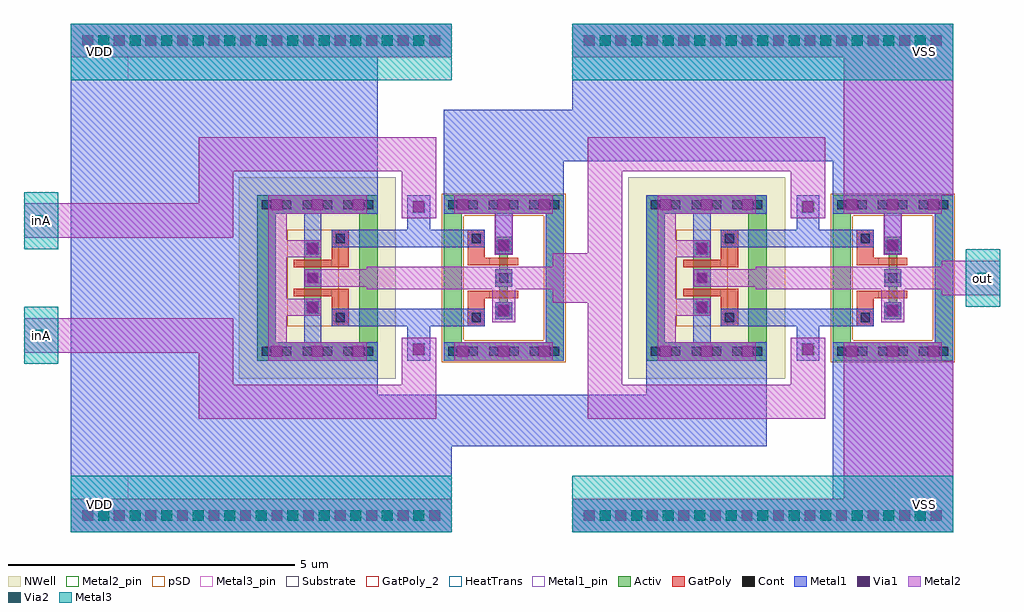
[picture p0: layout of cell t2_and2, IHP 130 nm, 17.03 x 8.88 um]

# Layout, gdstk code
from math import pi, radians
import gdstk
lib = gdstk.Library(unit=1e-6, precision=1e-09)
def R(c, l, rs):  # rectangles x0, y0, x1, y1
    for r in rs: c.add(gdstk.rectangle(r[:2], r[2:], *l))
def A(c, l, x, y, w, h, nx, ny, dx, dy):  # array of equal rectangles
    R(c, l, [(x+i*dx, y+j*dy, x+i*dx+w, y+j*dy+h) for i in range(nx) for j in range(ny)])
Activ = (1, 0)
GatPoly = (5, 0)
GatPoly_2 = (5, 2)
Cont = (6, 0)
Metal1 = (8, 0)
Metal1_pin = (8, 2)
Metal2 = (10, 0)
Metal2_pin = (10, 2)
pSD = (14, 0)
Via1 = (19, 0)
Via2 = (29, 0)
Metal3 = (30, 0)
Metal3_pin = (30, 2)
NWell = (31, 0)
Substrate = (40, 0)
HeatTrans = (51, 0)

pmos = lib.new_cell('pmos')
R(pmos, Activ, [(0,0,0.3,0.3), (0,0,0.81,0.3), (0.51,0,0.81,0.3)])
R(pmos, GatPoly, [(0.34,-0.18,0.47,0.48), (0.34,-0.18,0.47,0.48)])
R(pmos, Cont, [(0.07,0.07,0.23,0.23), (0.58,0.07,0.74,0.23)])
R(pmos, Metal1, [(0.07,0,0.23,0.3), (0.07,0,0.23,0.3), (0.58,0,0.74,0.3), (0.58,0,0.74,0.3)])
R(pmos, pSD, [(-0.18,-0.3,0.99,0.6)])
R(pmos, NWell, [(-0.31,-0.31,1.12,0.61)])
R(pmos, Substrate, [(0.51,0,0.81,0.3)])
R(pmos, HeatTrans, [(0.34,-0.18,0.47,0.48)])
pmos.add(gdstk.Label('pmos', (0.405,0.15), layer=63, texttype=0))
pmos.add(gdstk.Label('pmos', (0.405,0.15), layer=51, texttype=0))

nmos = lib.new_cell('nmos')
R(nmos, Activ, [(0,0,0.3,0.3), (0.57,0,0.87,0.3), (0,0.075,0.87,0.225)])
R(nmos, GatPoly, [(0.37,-0.105,0.5,0.405)])
R(nmos, GatPoly_2, [(0.37,-0.105,0.5,0.405)])
R(nmos, Cont, [(0.07,0.07,0.23,0.23), (0.64,0.07,0.8,0.23)])
R(nmos, Metal1, [(0.07,0.02,0.23,0.28), (0.64,0.02,0.8,0.28)])
R(nmos, Metal1_pin, [(0.07,0.02,0.23,0.28), (0.64,0.02,0.8,0.28)])
R(nmos, HeatTrans, [(0.37,-0.105,0.5,0.405)])
nmos.add(gdstk.Label('nmos', (0.435,0.15), layer=63, texttype=0))
nmos.add(gdstk.Label('nmos', (0.435,0.15), layer=51, texttype=0))

t2_nand2 = lib.new_cell('t2_nand2')
R(t2_nand2, Activ, [(-6.22,-2.335,-3.66,-2.015), (-3.66,-2.335,-3.34,-0.555), (-6.22,-2.015,-5.9,-0.235), (-5.9,-0.555,-3.34,-0.235), (-6.22,0.915,-3.66,1.235), (-3.66,0.915,-3.34,2.695), (-6.22,1.235,-5.9,3.015), (-5.9,2.695,-3.34,3.015)])
R(t2_nand2, GatPoly, [(-5.13,-1.03,-5,-0.955), (-4.56,-1.03,-4.43,-0.955), (-5.62,-0.955,-5,-0.655), (-4.56,-0.955,-3.94,-0.655), (-5.62,1.415,-4.97,1.715), (-4.59,1.415,-3.94,1.715)])
A(t2_nand2, Cont, -3.58, -2.255, 0.16, 0.16, 1, 5, 0, 0.355)
A(t2_nand2, Cont, -6.14, -1.895, 0.16, 0.16, 1, 5, 0, 0.355)
A(t2_nand2, Cont, -6.14, 1.355, 0.16, 0.16, 1, 5, 0, 0.355)
A(t2_nand2, Cont, -3.58, 1.355, 0.16, 0.16, 1, 5, 0, 0.355)
R(t2_nand2, Cont, [(-6.14,-2.255,-5.98,-2.095), (-5.55,-0.885,-5.39,-0.725), (-4.17,-0.885,-4.01,-0.725), (-3.58,-0.475,-3.42,-0.315), (-6.14,0.995,-5.98,1.155), (-3.58,0.995,-3.42,1.155), (-5.55,1.485,-5.39,1.645), (-4.17,1.485,-4.01,1.645)])
R(t2_nand2, Metal1, [(-6.22,-2.335,-5.9,-0.235), (-5.9,-2.335,-3.66,-2.015), (-3.66,-2.335,-3.34,-0.235), (-5.9,-1.435,-5.205,-1.135), (-4.93,-1.435,-4.63,-1.135), (-4.36,-1.435,-4.06,-1.135), (-5.62,-0.955,-5.32,1.715), (-4.24,-0.955,-3.94,1.715), (-6.22,-0.005,-5.62,0.395), (-3.94,-0.005,-3.34,0.395), (-6.22,0.915,-5.9,3.015), (-3.66,0.915,-3.34,3.015), (-5.9,1.895,-5.145,2.195), (-4.93,1.895,-4.63,2.195), (-4.415,1.895,-3.66,2.195), (-5.9,2.695,-3.66,3.015)])
R(t2_nand2, Metal2, [(-6.22,-2.14,-5.9,-0.425), (-4.98,-2.14,-4.58,1.105), (-3.66,-2.14,-3.34,-0.425), (-4.58,-1.485,-4.01,-1.085), (-5.9,-1.445,-5.19,-1.125), (-6.22,-0.005,-5.82,0.395), (-3.74,-0.005,-3.34,0.395), (-6.22,1.105,-5.9,2.82), (-4.93,1.105,-4.63,2.19), (-3.66,1.105,-3.34,2.82), (-5.44,1.9,-5.14,2.5), (-4.42,1.9,-4.12,2.5), (-5.9,2.5,-3.66,2.82)])
R(t2_nand2, Metal2_pin, [(-5.455,-1.39,-5.245,-1.18), (-4.315,-1.39,-4.105,-1.18), (-6.125,0.09,-5.915,0.3), (-3.645,0.09,-3.435,0.3), (-5.395,1.94,-5.185,2.15), (-4.375,1.94,-4.165,2.15)])
R(t2_nand2, pSD, [(-6.25,-2.365,-3.69,-1.985), (-3.69,-2.365,-3.31,-0.585), (-6.25,-1.985,-5.87,-0.205), (-5.87,-0.585,-3.31,-0.205)])
A(t2_nand2, Via1, -5.385, 1.95, 0.19, 0.19, 3, 1, 0.51, 0)
R(t2_nand2, Via1, [(-6.155,-2.09,-5.965,-1.9), (-3.595,-2.09,-3.405,-1.9), (-5.445,-1.38,-5.255,-1.19), (-4.305,-1.38,-4.115,-1.19), (-3.595,-1.38,-3.405,-1.19), (-6.155,-1.375,-5.965,-1.185), (-6.155,-0.665,-5.965,-0.475), (-3.595,-0.665,-3.405,-0.475), (-6.115,0.1,-5.925,0.29), (-3.635,0.1,-3.445,0.29), (-6.155,1.155,-5.965,1.345), (-3.595,1.155,-3.405,1.345), (-6.155,1.87,-5.965,2.06), (-3.595,1.87,-3.405,2.06), (-6.155,2.58,-5.965,2.77), (-3.595,2.58,-3.405,2.77)])
R(t2_nand2, NWell, [(-6.54,0.595,-3.02,3.335)])
t2_nand2.add(gdstk.Reference(pmos, (-5.44,1.895)))
t2_nand2.add(gdstk.Reference(pmos, (-4.93,1.895)))
t2_nand2.add(gdstk.Reference(nmos, (-5.5,-1.435)))
t2_nand2.add(gdstk.Reference(nmos, (-4.93,-1.435)))
t2_nand2.add(gdstk.Label('VDD', (-5.29,2.045), layer=10, texttype=2))
t2_nand2.add(gdstk.Label('VDD', (-4.27,2.045), layer=10, texttype=2))
t2_nand2.add(gdstk.Label('VSS', (-5.35,-1.285), layer=10, texttype=2))
t2_nand2.add(gdstk.Label('out', (-4.21,-1.285), layer=10, texttype=2))
t2_nand2.add(gdstk.Label('inA', (-6.02,0.195), layer=10, texttype=2))
t2_nand2.add(gdstk.Label('inB', (-3.54,0.195), layer=10, texttype=2))

t2_and2 = lib.new_cell('t2_and2')
R(t2_and2, Metal1, [(-4.66,-2.38,1.98,-0.88), (4.09,-2.38,10.73,-1.79), (8.63,-1.79,10.73,0.62), (-4.66,-0.88,7.48,0.02), (-4.66,0.02,-1.41,4.1), (-1.41,0.02,0.69,0.62), (5.38,0.02,7.48,0.62), (-1.41,3.5,0.69,4.1), (1.84,3.5,3.94,4.1), (8.63,3.5,10.73,4.1), (-4.66,4.1,0.69,5.91), (1.84,4.1,10.73,5), (4.09,5,10.73,6.5), (-4.66,5.91,1.98,6.5)])
R(t2_and2, Metal2, [(-4.66,-2.38,1.98,-1.79), (4.09,-2.38,10.73,-1.79), (8.82,-1.79,10.73,0.62), (-2.43,-0.4,-1.83,1.36), (-1.83,-0.4,1.11,0.2), (1.11,-0.4,1.71,1.02), (4.36,-0.4,4.96,4.52), (4.96,-0.4,7.9,0.2), (7.9,-0.4,8.5,1.02), (-5.48,0.76,-2.43,1.36), (3.745,1.63,4.36,2.49), (10.535,1.76,11.55,2.36), (-5.48,2.76,-2.43,3.36), (-2.43,2.76,-1.83,4.52), (1.11,3.1,1.71,4.52), (7.9,3.1,8.5,4.52), (8.82,3.5,10.73,5.91), (-1.83,3.92,1.11,4.52), (4.96,3.92,7.9,4.52), (-4.66,5.91,1.98,6.5), (4.09,5.91,10.73,6.5)])
A(t2_and2, Via1, -4.46, -2.18, 0.19, 0.19, 12, 2, 0.55, 8.29)
A(t2_and2, Via1, 4.29, -2.18, 0.19, 0.19, 12, 2, 0.55, 8.29)
A(t2_and2, Via2, -4.185, -2.18, 0.19, 0.19, 11, 2, 0.55, 8.29)
A(t2_and2, Via2, 4.565, -2.18, 0.19, 0.19, 11, 2, 0.55, 8.29)
R(t2_and2, Via2, [(-5.275,0.965,-5.085,1.155), (11.155,1.965,11.345,2.155), (-5.275,2.965,-5.085,3.155)])
R(t2_and2, Metal3, [(-4.66,-2.38,1.98,-1.39), (4.09,-2.38,10.73,-1.39), (-5.48,0.56,-4.88,1.56), (10.95,1.56,11.55,2.56), (-5.48,2.56,-4.88,3.56), (-4.66,5.51,1.98,6.5), (4.09,5.51,10.73,6.5)])
R(t2_and2, Metal3_pin, [(-4.66,-2.38,-3.66,-1.39), (9.73,-2.38,10.73,-1.39), (-5.48,0.76,-4.88,1.36), (10.95,1.76,11.55,2.36), (-5.48,2.76,-4.88,3.36), (-4.66,5.51,-3.66,6.5), (9.73,5.51,10.73,6.5)])
t2_and2.add(gdstk.Reference(t2_nand2, (1.605,-2.72), rotation=3*pi/2, x_reflection=True))
t2_and2.add(gdstk.Reference(t2_nand2, (8.395,-2.72), rotation=3*pi/2, x_reflection=True))
t2_and2.add(gdstk.Label('inA', (-5.18,3.06), layer=30, texttype=2))
t2_and2.add(gdstk.Label('inA', (-5.18,1.06), layer=30, texttype=2))
t2_and2.add(gdstk.Label('out', (11.25,2.06), layer=30, texttype=2))
t2_and2.add(gdstk.Label('VSS', (10.23,6.005), layer=30, texttype=2))
t2_and2.add(gdstk.Label('VSS', (10.23,-1.885), layer=30, texttype=2))
t2_and2.add(gdstk.Label('VDD', (-4.16,6.005), layer=30, texttype=2))
t2_and2.add(gdstk.Label('VDD', (-4.16,-1.885), layer=30, texttype=2))

lib.write_gds('t2_and2.gds')
